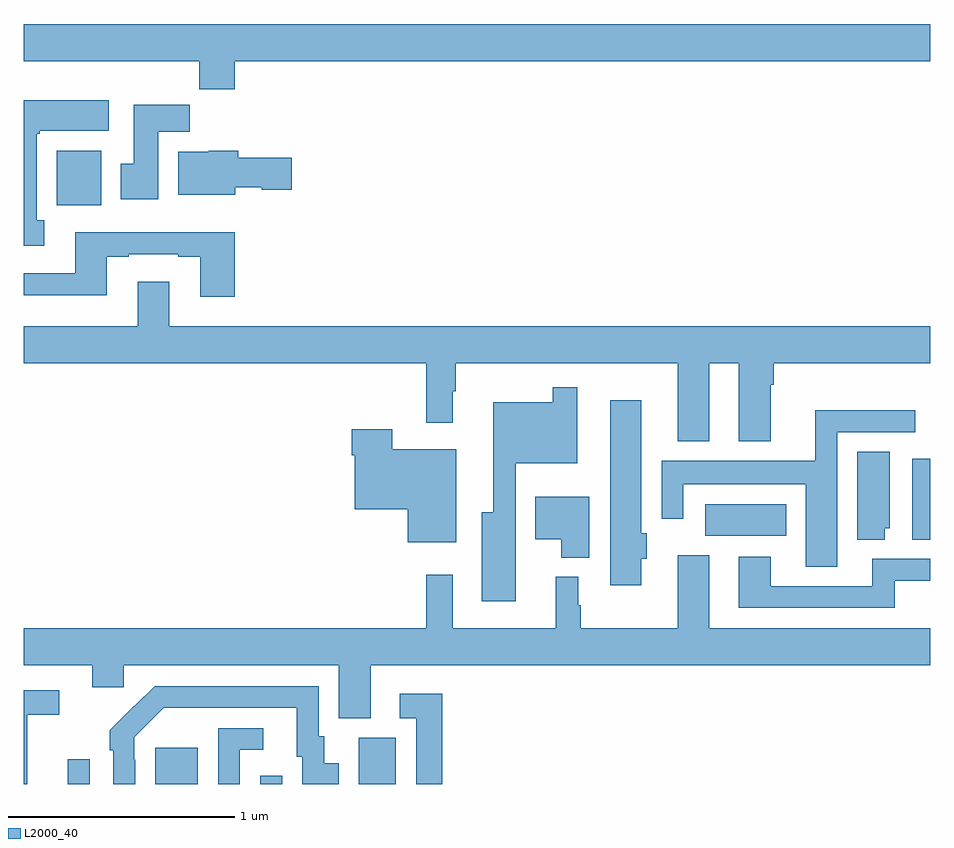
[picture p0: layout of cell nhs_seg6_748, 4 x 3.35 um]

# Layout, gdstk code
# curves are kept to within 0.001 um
import gdstk
lib = gdstk.Library(unit=1e-6, precision=1e-09)
def R(c, l, rs):  # rectangles x0, y0, x1, y1
    for r in rs: c.add(gdstk.rectangle(r[:2], r[2:], *l))
def P(c, l, *ps):  # polygons
    for p in ps: c.add(gdstk.Polygon(p, *l))
L2000_40 = (2000, 40)

nhs_seg6_748 = lib.new_cell('nhs_seg6_748')
R(nhs_seg6_748, L2000_40, [(159.195,925.5,159.291,925.609), (159.581,925.5,159.769,925.66), (160.044,925.5,160.14,925.537), (160.478,925.5,160.642,925.704), (162.92,926.578,163,926.935), (162.006,926.594,162.364,926.734), (159.146,928.052,159.343,928.294)])
P(nhs_seg6_748, L2000_40, [(159.932,928.688),(163,928.688),(163,928.852),(159,928.852),(159,928.688),(159.775,928.688),(159.775,928.564),(159.932,928.564)],
  [(159.091,927.986),(159.058,927.986),(159.058,928.369),(159.072,928.369),(159.072,928.382),(159.376,928.382),(159.376,928.516),(159,928.516),(159,927.873),(159.091,927.873)],
  [(159.595,928.376),(159.734,928.376),(159.734,928.495),(159.485,928.495),(159.485,928.236),(159.428,928.236),(159.428,928.08),(159.595,928.08)],
  [(159.934,928.133),(160.05,928.133),(160.05,928.121),(160.183,928.121),(160.183,928.263),(159.947,928.263),(159.947,928.294),(159.816,928.294),(159.816,928.288),(159.683,928.288),(159.683,928.1),(159.934,928.1)],
  [(159.932,927.934),(159.227,927.934),(159.227,927.753),(159,927.753),(159,927.656),(159.367,927.656),(159.367,927.825),(159.463,927.825),(159.463,927.837),(159.683,927.837),(159.683,927.825),(159.779,927.825),(159.779,927.648),(159.932,927.648)],
  [(162.025,927.356),(162.155,927.356),(162.155,927.011),(162.295,927.011),(162.295,927.26),(162.308,927.26),(162.308,927.356),(163,927.356),(163,927.52),(159.643,927.52),(159.643,927.715),(159.503,927.715),(159.503,927.52),(159,927.52),(159,927.356),(160.777,927.356),(160.777,927.093),(160.894,927.093),(160.894,927.233),(160.906,927.233),(160.906,927.356),(161.885,927.356),(161.885,927.011),(162.025,927.011)],
  [(161.17,926.915),(161.442,926.915),(161.442,927.25),(161.334,927.25),(161.334,927.184),(161.072,927.184),(161.072,926.698),(161.021,926.698),(161.021,926.306),(161.17,926.306)],
  [(161.725,926.493),(161.749,926.493),(161.749,926.607),(161.725,926.607),(161.725,927.193),(161.588,927.193),(161.588,926.376),(161.725,926.376)],
  [(162.589,927.051),(162.934,927.051),(162.934,927.149),(162.491,927.149),(162.491,926.926),(161.814,926.926),(161.814,926.67),(161.91,926.67),(161.91,926.822),(162.449,926.822),(162.449,926.458),(162.589,926.458)],
  [(160.909,926.977),(160.626,926.977),(160.626,927.064),(160.448,927.064),(160.448,926.951),(160.46,926.951),(160.46,926.711),(160.694,926.711),(160.694,926.567),(160.909,926.567)],
  [(162.799,926.628),(162.82,926.628),(162.82,926.966),(162.677,926.966),(162.677,926.578),(162.799,926.578)],
  [(161.494,926.767),(161.258,926.767),(161.258,926.579),(161.372,926.579),(161.372,926.498),(161.494,926.498)],
  [(160.531,926.024),(163,926.024),(163,926.188),(162.025,926.188),(162.025,926.509),(161.885,926.509),(161.885,926.188),(161.458,926.188),(161.458,926.288),(161.446,926.288),(161.446,926.413),(161.348,926.413),(161.348,926.188),(160.893,926.188),(160.893,926.422),(160.777,926.422),(160.777,926.188),(159,926.188),(159,926.024),(159.302,926.024),(159.302,925.926),(159.441,925.926),(159.441,926.024),(160.391,926.024),(160.391,925.789),(160.531,925.789)],
  [(162.842,926.397),(163,926.397),(163,926.493),(162.743,926.493),(162.743,926.373),(162.295,926.373),(162.295,926.503),(162.155,926.503),(162.155,926.277),(162.842,926.277)],
  [(159.492,925.607),(159.489,925.607),(159.489,925.707),(159.618,925.836),(160.205,925.836),(160.205,925.62),(160.229,925.62),(160.229,925.5),(160.39,925.5),(160.39,925.591),(160.327,925.591),(160.327,925.71),(160.302,925.71),(160.302,925.932),(159.578,925.932),(159.381,925.737),(159.381,925.649),(159.396,925.649),(159.396,925.5),(159.492,925.5)],
  [(159.017,925.806),(159.157,925.806),(159.157,925.914),(159,925.914),(159,925.5),(159.017,925.5)],
  [(160.847,925.897),(160.659,925.897),(160.659,925.791),(160.731,925.791),(160.731,925.5),(160.847,925.5)],
  [(159.954,925.65),(160.057,925.65),(160.057,925.746),(159.858,925.746),(159.858,925.5),(159.954,925.5)])

lib.write_gds('nhs_seg6_748.gds')
